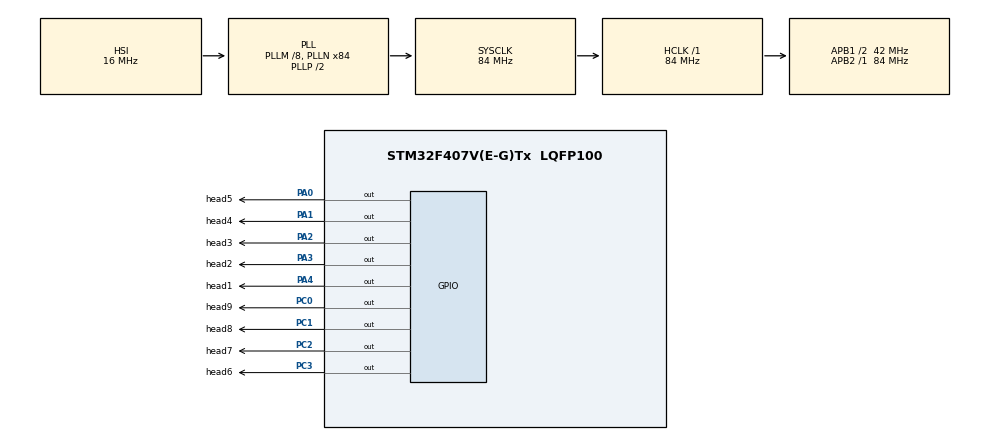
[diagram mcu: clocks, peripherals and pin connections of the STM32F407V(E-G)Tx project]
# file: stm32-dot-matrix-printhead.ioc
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Mcu.Family=STM32F4
Mcu.Name=STM32F407V(E-G)Tx
Mcu.Package=LQFP100
NVIC.PriorityGroup=NVIC_PRIORITYGROUP_4
PA0-WKUP.GPIO_Label=head5
PA0-WKUP.PinState=GPIO_PIN_SET
PA0-WKUP.Signal=GPIO_Output
PA1.GPIO_Label=head4
PA1.PinState=GPIO_PIN_SET
PA1.Signal=GPIO_Output
PA2.GPIO_Label=head3
PA2.PinState=GPIO_PIN_SET
PA2.Signal=GPIO_Output
PA3.GPIO_Label=head2
PA3.PinState=GPIO_PIN_SET
PA3.Signal=GPIO_Output
PA4.GPIO_Label=head1
PA4.PinState=GPIO_PIN_SET
PA4.Signal=GPIO_Output
PC0.GPIO_Label=head9
PC0.PinState=GPIO_PIN_SET
PC0.Signal=GPIO_Output
PC1.GPIO_Label=head8
PC1.PinState=GPIO_PIN_SET
PC1.Signal=GPIO_Output
PC2.GPIO_Label=head7
PC2.PinState=GPIO_PIN_SET
PC2.Signal=GPIO_Output
PC3.GPIO_Label=head6
PC3.PinState=GPIO_PIN_SET
PC3.Signal=GPIO_Output
ProjectManager.HeapSize=0x200
ProjectManager.StackSize=0x400
ProjectManager.TargetToolchain=STM32CubeIDE
RCC.48MHZClocksFreq_Value=42000000
RCC.AHBFreq_Value=84000000
RCC.APB1CLKDivider=RCC_HCLK_DIV2
RCC.APB1Freq_Value=42000000
RCC.APB1TimFreq_Value=84000000
RCC.APB2Freq_Value=84000000
RCC.APB2TimFreq_Value=84000000
RCC.CortexFreq_Value=84000000
RCC.HCLKFreq_Value=84000000
RCC.HSE_VALUE=25000000
RCC.HSI_VALUE=16000000
RCC.LSE_VALUE=32768
RCC.PLLM=8
RCC.PLLN=84
RCC.SYSCLKFreq_VALUE=84000000
RCC.SYSCLKSource=RCC_SYSCLKSOURCE_PLLCLK
RCC.VCOOutputFreq_Value=168000000
TIM2.Period=65535
TIM2.Prescaler=84-1
VP_TIM2_VS_ClockSourceINT.Mode=Internal
board=custom

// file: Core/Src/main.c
/* USER CODE BEGIN Header */
/**
  ******************************************************************************
  * @file           : main.c
  * @brief          : Main program body
  * @author         : M. Eyub Can, TECH-OHM (https://tech-ohm.com)
  ******************************************************************************
  * @attention
  *
  * Copyright (c) 2026 STMicroelectronics.
  * All rights reserved.
  *
  * This software is licensed under terms that can be found in the LICENSE file
  * in the root directory of this software component.
  * If no LICENSE file comes with this software, it is provided AS-IS.
  *
  ******************************************************************************
  */
/* USER CODE END Header */
#include "main.h"

/* USER CODE BEGIN Includes */
// --- SETTINGS ---
#define PULSE_WIDTH_US   1000   // solenoid pulse width (us)
#define COL_DELAY_MS     50  // wait between columns (time to move the head by hand)
#define CHAR_SPACE_MS    100  // wait between characters
/* USER CODE END Includes */

TIM_HandleTypeDef htim2;

void SystemClock_Config(void);
static void MX_GPIO_Init(void);
static void MX_TIM2_Init(void);
/* USER CODE BEGIN PFP */
typedef struct {
    char c;
    uint16_t cols[5];
} CharDef;

const CharDef font[] = {
    {'M', {0b111111111, 0b000000110, 0b000011000, 0b000000110, 0b111111111}},
    {'E', {0b111111111, 0b100100001, 0b100100001, 0b100100001, 0b100000001}},
    {'R', {0b111111111, 0b100010001, 0b100010001, 0b100011001, 0b011100110}},
    {'H', {0b111111111, 0b000100000, 0b000100000, 0b000100000, 0b111111111}},
    {'A', {0b011111110, 0b100000001, 0b100100001, 0b100000001, 0b011111110}},
    {'B', {0b111111111, 0b100100001, 0b100100001, 0b100100001, 0b011011110}},
    {'T', {0b100000000, 0b100000000, 0b111111111, 0b100000000, 0b100000000}},
    {'I', {0b000000000, 0b100000001, 0b111111111, 0b100000001, 0b000000000}},
    {' ', {0b000000000, 0b000000000, 0b000000000, 0b000000000, 0b000000000}},
};
#define FONT_SIZE (sizeof(font) / sizeof(font[0]))

// Text to print
const char* printText = "HI THERE";

// --- HELPERS ---

// Microsecond delay (uses TIM2)
void delay_us(uint16_t us) {
    __HAL_TIM_SET_COUNTER(&htim2, 0);
    while (__HAL_TIM_GET_COUNTER(&htim2) < us);
}

// Fire one pin (pin number 1-9)
void firePin(uint8_t pin) {
    switch(pin) {
        case 1: HAL_GPIO_WritePin(GPIOA, GPIO_PIN_4, GPIO_PIN_RESET); break;
        case 2: HAL_GPIO_WritePin(GPIOA, GPIO_PIN_3, GPIO_PIN_RESET); break;
        case 3: HAL_GPIO_WritePin(GPIOA, GPIO_PIN_2, GPIO_PIN_RESET); break;
        case 4: HAL_GPIO_WritePin(GPIOA, GPIO_PIN_1, GPIO_PIN_RESET); break;
        case 5: HAL_GPIO_WritePin(GPIOA, GPIO_PIN_0, GPIO_PIN_RESET); break;
        case 6: HAL_GPIO_WritePin(GPIOC, GPIO_PIN_3, GPIO_PIN_RESET); break;
        case 7: HAL_GPIO_WritePin(GPIOC, GPIO_PIN_2, GPIO_PIN_RESET); break;
        case 8: HAL_GPIO_WritePin(GPIOC, GPIO_PIN_1, GPIO_PIN_RESET); break;
        case 9: HAL_GPIO_WritePin(GPIOC, GPIO_PIN_0, GPIO_PIN_RESET); break;
    }
}

// Release one pin
void releasePin(uint8_t pin) {
    switch(pin) {
        case 1: HAL_GPIO_WritePin(GPIOA, GPIO_PIN_4, GPIO_PIN_SET); break;
        case 2: HAL_GPIO_WritePin(GPIOA, GPIO_PIN_3, GPIO_PIN_SET); break;
        case 3: HAL_GPIO_WritePin(GPIOA, GPIO_PIN_2, GPIO_PIN_SET); break;
        case 4: HAL_GPIO_WritePin(GPIOA, GPIO_PIN_1, GPIO_PIN_SET); break;
        case 5: HAL_GPIO_WritePin(GPIOA, GPIO_PIN_0, GPIO_PIN_SET); break;
        case 6: HAL_GPIO_WritePin(GPIOC, GPIO_PIN_3, GPIO_PIN_SET); break;
        case 7: HAL_GPIO_WritePin(GPIOC, GPIO_PIN_2, GPIO_PIN_SET); break;
        case 8: HAL_GPIO_WritePin(GPIOC, GPIO_PIN_1, GPIO_PIN_SET); break;
        case 9: HAL_GPIO_WritePin(GPIOC, GPIO_PIN_0, GPIO_PIN_SET); break;
    }
}

// Print one column. The bitmap says which pins fire.
void printColumn(uint16_t colBitmap) {
    // Fire the pins whose bits are set
    for (uint8_t pin = 1; pin <= 9; pin++) {
        if (colBitmap & (1 << (pin - 1))) {
            firePin(pin);
        }
    }

    // Hold for the pulse width
    delay_us(PULSE_WIDTH_US);

    // Release all pins
    HAL_GPIO_WritePin(GPIOA,
        GPIO_PIN_0|GPIO_PIN_1|GPIO_PIN_2|
        GPIO_PIN_3|GPIO_PIN_4,
        GPIO_PIN_SET);
    HAL_GPIO_WritePin(GPIOC,
        GPIO_PIN_0|GPIO_PIN_1|GPIO_PIN_2|GPIO_PIN_3,
        GPIO_PIN_SET);
}

// Look up a character in the font table
const CharDef* findChar(char c) {
    for (int i = 0; i < FONT_SIZE; i++) {
        if (font[i].c == c) return &font[i];
    }
    return &font[FONT_SIZE - 1]; // not found: print a space
}

// Print one character
void printChar(char c) {
    const CharDef* ch = findChar(c);

    for (int col = 0; col < 5; col++) {
        printColumn(ch->cols[col]);

        // Wait between columns. This is when the head gets moved by hand.
        HAL_Delay(COL_DELAY_MS);
    }

    // Extra wait between characters
    HAL_Delay(CHAR_SPACE_MS);
}

// Print a string
void printString(const char* str) {
    while (*str) {
        printChar(*str++);
    }
}
/* USER CODE END PFP */

int main(void)
{

  /* MCU Configuration--------------------------------------------------------*/

  /* Reset of all peripherals, Initializes the Flash interface and the Systick. */
  HAL_Init();

  /* Configure the system clock */
  SystemClock_Config();

  /* Initialize all configured peripherals */
  MX_GPIO_Init();
  MX_TIM2_Init();
  /* USER CODE BEGIN 2 */
  // Start TIM2
  HAL_TIM_Base_Start(&htim2);

  // All pins high (MOSFETs off)
  HAL_GPIO_WritePin(GPIOA,
      GPIO_PIN_0|GPIO_PIN_1|GPIO_PIN_2|
      GPIO_PIN_3|GPIO_PIN_4,
      GPIO_PIN_SET);
  HAL_GPIO_WritePin(GPIOC,
      GPIO_PIN_0|GPIO_PIN_1|GPIO_PIN_2|GPIO_PIN_3,
      GPIO_PIN_SET);

  // 3 seconds to bring the head to the start position
  HAL_Delay(3000);
  /* USER CODE END 2 */

  /* Infinite loop */
  while (1)
  {

    /* USER CODE BEGIN 3 */
	  printString(printText);

	     // Line done, start again in 5 seconds
	     HAL_Delay(5000);
  }
  /* USER CODE END 3 */
}

void SystemClock_Config(void)
{
  RCC_OscInitTypeDef RCC_OscInitStruct = {0};
  RCC_ClkInitTypeDef RCC_ClkInitStruct = {0};

  /** Configure the main internal regulator output voltage
  */
  __HAL_RCC_PWR_CLK_ENABLE();
  __HAL_PWR_VOLTAGESCALING_CONFIG(PWR_REGULATOR_VOLTAGE_SCALE1);

  /** Initializes the RCC Oscillators according to the specified parameters
  * in the RCC_OscInitTypeDef structure.
  */
  RCC_OscInitStruct.OscillatorType = RCC_OSCILLATORTYPE_HSI;
  RCC_OscInitStruct.HSIState = RCC_HSI_ON;
  RCC_OscInitStruct.HSICalibrationValue = RCC_HSICALIBRATION_DEFAULT;
  RCC_OscInitStruct.PLL.PLLState = RCC_PLL_ON;
  RCC_OscInitStruct.PLL.PLLSource = RCC_PLLSOURCE_HSI;
  RCC_OscInitStruct.PLL.PLLM = 8;
  RCC_OscInitStruct.PLL.PLLN = 84;
  RCC_OscInitStruct.PLL.PLLP = RCC_PLLP_DIV2;
  RCC_OscInitStruct.PLL.PLLQ = 4;
  if (HAL_RCC_OscConfig(&RCC_OscInitStruct) != HAL_OK)
  {
    Error_Handler();
  }

  /** Initializes the CPU, AHB and APB buses clocks
  */
  RCC_ClkInitStruct.ClockType = RCC_CLOCKTYPE_HCLK|RCC_CLOCKTYPE_SYSCLK
                              |RCC_CLOCKTYPE_PCLK1|RCC_CLOCKTYPE_PCLK2;
  RCC_ClkInitStruct.SYSCLKSource = RCC_SYSCLKSOURCE_PLLCLK;
  RCC_ClkInitStruct.AHBCLKDivider = RCC_SYSCLK_DIV1;
  RCC_ClkInitStruct.APB1CLKDivider = RCC_HCLK_DIV2;
  RCC_ClkInitStruct.APB2CLKDivider = RCC_HCLK_DIV1;

  if (HAL_RCC_ClockConfig(&RCC_ClkInitStruct, FLASH_LATENCY_2) != HAL_OK)
  {
    Error_Handler();
  }
}

static void MX_TIM2_Init(void)
{

  TIM_ClockConfigTypeDef sClockSourceConfig = {0};
  TIM_MasterConfigTypeDef sMasterConfig = {0};

  htim2.Instance = TIM2;
  htim2.Init.Prescaler = 84-1;
  htim2.Init.CounterMode = TIM_COUNTERMODE_UP;
  htim2.Init.Period = 65535;
  htim2.Init.ClockDivision = TIM_CLOCKDIVISION_DIV1;
  htim2.Init.AutoReloadPreload = TIM_AUTORELOAD_PRELOAD_DISABLE;
  if (HAL_TIM_Base_Init(&htim2) != HAL_OK)
  {
    Error_Handler();
  }
  sClockSourceConfig.ClockSource = TIM_CLOCKSOURCE_INTERNAL;
  if (HAL_TIM_ConfigClockSource(&htim2, &sClockSourceConfig) != HAL_OK)
  {
    Error_Handler();
  }
  sMasterConfig.MasterOutputTrigger = TIM_TRGO_RESET;
  sMasterConfig.MasterSlaveMode = TIM_MASTERSLAVEMODE_DISABLE;
  if (HAL_TIMEx_MasterConfigSynchronization(&htim2, &sMasterConfig) != HAL_OK)
  {
    Error_Handler();
  }

}

static void MX_GPIO_Init(void)
{
  GPIO_InitTypeDef GPIO_InitStruct = {0};

  /* GPIO Ports Clock Enable */
  __HAL_RCC_GPIOC_CLK_ENABLE();
  __HAL_RCC_GPIOA_CLK_ENABLE();

  /*Configure GPIO pin Output Level */
  HAL_GPIO_WritePin(GPIOC, head9_Pin|head8_Pin|head7_Pin|head6_Pin, GPIO_PIN_SET);

  /*Configure GPIO pin Output Level */
  HAL_GPIO_WritePin(GPIOA, head5_Pin|head4_Pin|head3_Pin|head2_Pin
                          |head1_Pin, GPIO_PIN_SET);

  /*Configure GPIO pins : head9_Pin head8_Pin head7_Pin head6_Pin */
  GPIO_InitStruct.Pin = head9_Pin|head8_Pin|head7_Pin|head6_Pin;
  GPIO_InitStruct.Mode = GPIO_MODE_OUTPUT_PP;
  GPIO_InitStruct.Pull = GPIO_NOPULL;
  GPIO_InitStruct.Speed = GPIO_SPEED_FREQ_LOW;
  HAL_GPIO_Init(GPIOC, &GPIO_InitStruct);

  /*Configure GPIO pins : head5_Pin head4_Pin head3_Pin head2_Pin
                           head1_Pin */
  GPIO_InitStruct.Pin = head5_Pin|head4_Pin|head3_Pin|head2_Pin
                          |head1_Pin;
  GPIO_InitStruct.Mode = GPIO_MODE_OUTPUT_PP;
  GPIO_InitStruct.Pull = GPIO_NOPULL;
  GPIO_InitStruct.Speed = GPIO_SPEED_FREQ_LOW;
  HAL_GPIO_Init(GPIOA, &GPIO_InitStruct);

}

void Error_Handler(void)
{
  __disable_irq();
  while (1)
  {
  }
}
